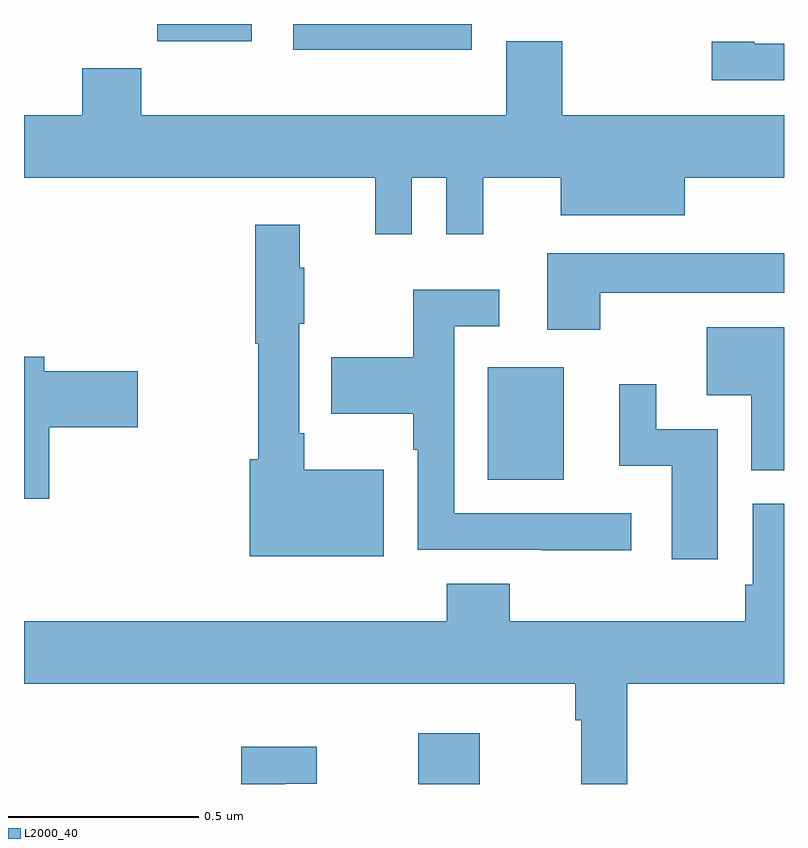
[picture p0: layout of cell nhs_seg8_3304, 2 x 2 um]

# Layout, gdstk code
import gdstk
lib = gdstk.Library(unit=1e-6, precision=1e-09)
def R(c, l, rs):  # rectangles x0, y0, x1, y1
    for r in rs: c.add(gdstk.rectangle(r[:2], r[2:], *l))
def P(c, l, *ps):  # polygons
    for p in ps: c.add(gdstk.Polygon(p, *l))
L2000_40 = (2000, 40)

nhs_seg8_3304 = lib.new_cell('nhs_seg8_3304')
R(nhs_seg8_3304, L2000_40, [(156.038,1118.9,156.199,1119.034), (156.221,1119.701,156.421,1119.997), (155.709,1120.832,156.178,1120.9), (155.35,1120.854,155.599,1120.9)])
P(nhs_seg8_3304, L2000_40, [(156.021,1120.496),(156.111,1120.496),(156.111,1120.347),(156.209,1120.347),(156.209,1120.496),(156.413,1120.496),(156.413,1120.397),(156.739,1120.397),(156.739,1120.496),(157,1120.496),(157,1120.66),(156.417,1120.66),(156.417,1120.855),(156.269,1120.855),(156.269,1120.66),(155.309,1120.66),(155.309,1120.784),(155.153,1120.784),(155.153,1120.66),(155,1120.66),(155,1120.496),(155.924,1120.496),(155.924,1120.347),(156.021,1120.347)],
  [(157,1120.848),(156.922,1120.848),(156.922,1120.853),(156.81,1120.853),(156.81,1120.752),(157,1120.752)],
  [(155.947,1119.727),(155.737,1119.727),(155.737,1119.823),(155.724,1119.823),(155.724,1120.111),(155.737,1120.111),(155.737,1120.259),(155.726,1120.259),(155.726,1120.372),(155.608,1120.372),(155.608,1120.059),(155.616,1120.059),(155.616,1119.754),(155.594,1119.754),(155.594,1119.5),(155.947,1119.5)],
  [(156.517,1120.193),(157,1120.193),(157,1120.297),(156.377,1120.297),(156.377,1120.095),(156.517,1120.095)],
  [(156.598,1119.612),(156.132,1119.612),(156.132,1120.104),(156.25,1120.104),(156.25,1120.201),(156.024,1120.201),(156.024,1120.023),(155.809,1120.023),(155.809,1119.875),(156.024,1119.875),(156.024,1119.779),(156.036,1119.779),(156.036,1119.516),(156.361,1119.516),(156.361,1119.515),(156.598,1119.515)],
  [(157,1120.102),(156.797,1120.102),(156.797,1119.923),(156.914,1119.923),(156.914,1119.726),(157,1119.726)],
  [(155.066,1119.839),(155.299,1119.839),(155.299,1119.986),(155.053,1119.986),(155.053,1120.024),(155,1120.024),(155,1119.651),(155.066,1119.651)],
  [(156.826,1119.834),(156.664,1119.834),(156.664,1119.952),(156.566,1119.952),(156.566,1119.738),(156.704,1119.738),(156.704,1119.492),(156.826,1119.492)],
  [(156.587,1119.164),(157,1119.164),(157,1119.637),(156.918,1119.637),(156.918,1119.424),(156.898,1119.424),(156.898,1119.328),(156.278,1119.328),(156.278,1119.427),(156.113,1119.427),(156.113,1119.328),(155,1119.328),(155,1119.164),(156.451,1119.164),(156.451,1119.068),(156.466,1119.068),(156.466,1118.9),(156.587,1118.9)],
  [(155.688,1118.901),(155.77,1118.901),(155.77,1118.998),(155.572,1118.998),(155.572,1118.9),(155.688,1118.9)])

lib.write_gds('nhs_seg8_3304.gds')
